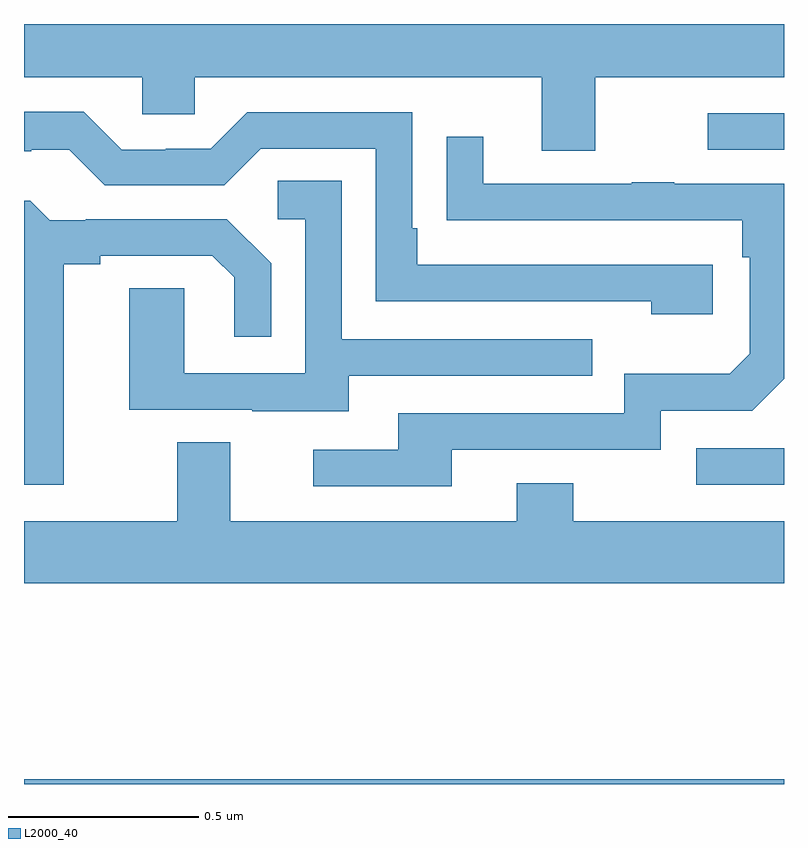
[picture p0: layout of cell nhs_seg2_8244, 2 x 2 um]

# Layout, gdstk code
import gdstk
lib = gdstk.Library(unit=1e-6, precision=1e-09)
def R(c, l, rs):  # rectangles x0, y0, x1, y1
    for r in rs: c.add(gdstk.rectangle(r[:2], r[2:], *l))
def P(c, l, *ps):  # polygons
    for p in ps: c.add(gdstk.Polygon(p, *l))
L2000_40 = (2000, 40)

nhs_seg2_8244 = lib.new_cell('nhs_seg2_8244')
R(nhs_seg2_8244, L2000_40, [(214,621.8,216,621.812), (215.769,622.587,216,622.683), (215.799,623.469,216,623.565)])
P(nhs_seg2_8244, L2000_40, [(215.503,623.66),(216,623.66),(216,623.8),(214,623.8),(214,623.66),(214.311,623.66),(214.311,623.562),(214.449,623.562),(214.449,623.66),(215.363,623.66),(215.363,623.466),(215.503,623.466)],
  [(215.812,623.166),(215.035,623.166),(215.035,623.263),(215.022,623.263),(215.022,623.568),(214.587,623.568),(214.491,623.472),(214.373,623.472),(214.373,623.469),(214.257,623.469),(214.157,623.569),(214,623.569),(214,623.465),(214.019,623.465),(214.019,623.469),(214.119,623.469),(214.212,623.376),(214.527,623.376),(214.623,623.472),(214.926,623.472),(214.926,623.07),(215.651,623.07),(215.651,623.036),(215.812,623.036)],
  [(215.125,622.68),(215.676,622.68),(215.676,622.782),(215.916,622.782),(216,622.866),(216,623.379),(215.711,623.379),(215.711,623.384),(215.599,623.384),(215.599,623.379),(215.209,623.379),(215.209,623.503),(215.113,623.503),(215.113,623.284),(215.215,623.284),(215.215,623.283),(215.89,623.283),(215.89,623.186),(215.91,623.186),(215.91,622.932),(215.857,622.879),(215.58,622.879),(215.58,622.776),(214.985,622.776),(214.985,622.68),(214.761,622.68),(214.761,622.584),(215.125,622.584)],
  [(214.855,622.875),(215.495,622.875),(215.495,622.971),(214.836,622.971),(214.836,623.387),(214.668,623.387),(214.668,623.286),(214.74,623.286),(214.74,622.881),(214.422,622.881),(214.422,623.105),(214.277,623.105),(214.277,622.785),(214.601,622.785),(214.601,622.781),(214.855,622.781)],
  [(214.105,623.168),(214.201,623.168),(214.201,623.19),(214.496,623.19),(214.553,623.133),(214.553,622.977),(214.65,622.977),(214.65,623.17),(214.534,623.286),(214.162,623.286),(214.162,623.283),(214.068,623.283),(214.016,623.335),(214,623.335),(214,623.192),(214.001,623.191),(214.001,622.683),(214,622.683),(214,622.587),(214.105,622.587)],
  [(216,622.492),(215.445,622.492),(215.445,622.591),(215.297,622.591),(215.297,622.492),(214.543,622.492),(214.543,622.7),(214.403,622.7),(214.403,622.492),(214,622.492),(214,622.328),(216,622.328)])

lib.write_gds('nhs_seg2_8244.gds')
